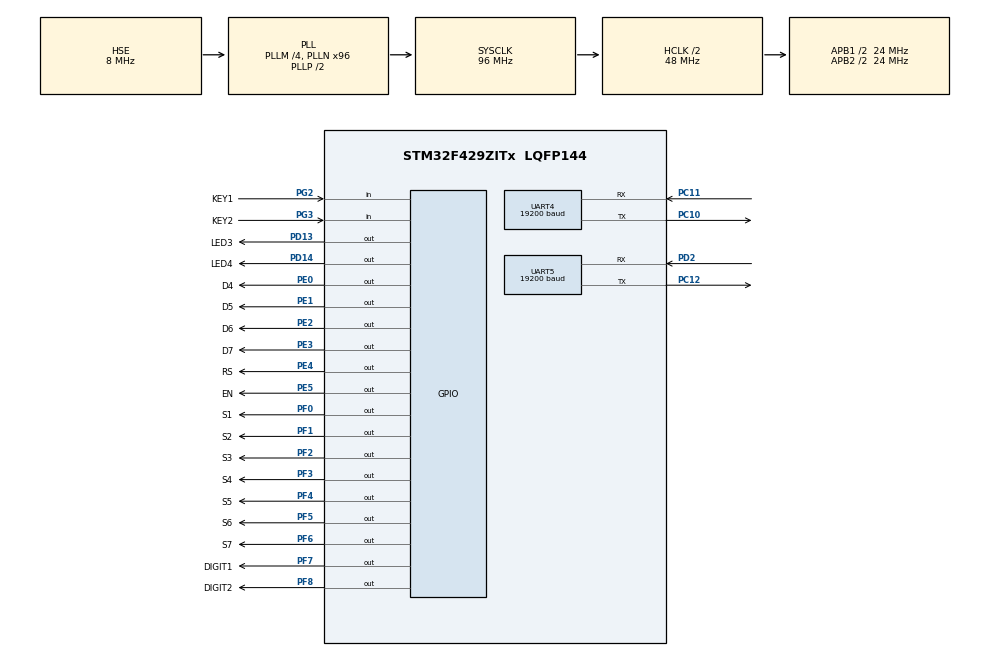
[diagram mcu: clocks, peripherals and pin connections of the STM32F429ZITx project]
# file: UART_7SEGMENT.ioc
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Mcu.Family=STM32F4
Mcu.Name=STM32F429ZITx
Mcu.Package=LQFP144
NVIC.PriorityGroup=NVIC_PRIORITYGROUP_0
NVIC.TIM3_IRQn=true\:0\:0\:false\:false\:true\:true\:true\:true
NVIC.TIM4_IRQn=true\:0\:0\:false\:false\:true\:true\:true\:true
NVIC.UART4_IRQn=true\:0\:0\:false\:false\:true\:true\:true\:true
NVIC.UART5_IRQn=true\:0\:0\:false\:false\:true\:true\:true\:true
PA13.Mode=Serial_Wire
PA13.Signal=SYS_JTMS-SWDIO
PA14.Mode=Serial_Wire
PA14.Signal=SYS_JTCK-SWCLK
PC10.Mode=Asynchronous
PC10.Signal=UART4_TX
PC11.Mode=Asynchronous
PC11.Signal=UART4_RX
PC12.Mode=Asynchronous
PC12.Signal=UART5_TX
PD13.GPIO_Label=LED3
PD13.Signal=GPIO_Output
PD14.GPIO_Label=LED4
PD14.Signal=GPIO_Output
PD2.Mode=Asynchronous
PD2.Signal=UART5_RX
PE0.GPIO_Label=D4
PE0.Signal=GPIO_Output
PE1.GPIO_Label=D5
PE1.Signal=GPIO_Output
PE2.GPIO_Label=D6
PE2.Signal=GPIO_Output
PE3.GPIO_Label=D7
PE3.Signal=GPIO_Output
PE4.GPIO_Label=RS
PE4.Signal=GPIO_Output
PE5.GPIO_Label=EN
PE5.Signal=GPIO_Output
PF0.GPIO_Label=S1
PF0.Signal=GPIO_Output
PF1.GPIO_Label=S2
PF1.Signal=GPIO_Output
PF2.GPIO_Label=S3
PF2.Signal=GPIO_Output
PF3.GPIO_Label=S4
PF3.Signal=GPIO_Output
PF4.GPIO_Label=S5
PF4.Signal=GPIO_Output
PF5.GPIO_Label=S6
PF5.Signal=GPIO_Output
PF6.GPIO_Label=S7
PF6.Signal=GPIO_Output
PF7.GPIO_Label=DIGIT1
PF7.Signal=GPIO_Output
PF8.GPIO_Label=DIGIT2
PF8.Signal=GPIO_Output
PG2.GPIO_Label=KEY1
PG2.GPIO_PuPd=GPIO_PULLUP
PG2.Signal=GPIO_Input
PG3.GPIO_Label=KEY2
PG3.GPIO_PuPd=GPIO_PULLUP
PG3.Signal=GPIO_Input
PH0/OSC_IN.Mode=HSE-External-Oscillator
PH0/OSC_IN.Signal=RCC_OSC_IN
PH1/OSC_OUT.Mode=HSE-External-Oscillator
PH1/OSC_OUT.Signal=RCC_OSC_OUT
ProjectManager.HeapSize=0x200
ProjectManager.StackSize=0x400
ProjectManager.TargetToolchain=Makefile
RCC.48MHZClocksFreq_Value=64000000
RCC.AHBCLKDivider=RCC_SYSCLK_DIV2
RCC.AHBFreq_Value=48000000
RCC.APB1CLKDivider=RCC_HCLK_DIV2
RCC.APB1Freq_Value=24000000
RCC.APB1TimFreq_Value=48000000
RCC.APB2CLKDivider=RCC_HCLK_DIV2
RCC.APB2Freq_Value=24000000
RCC.APB2TimFreq_Value=48000000
RCC.CortexFreq_Value=48000000
RCC.HCLKFreq_Value=48000000
RCC.HSE_VALUE=8000000
RCC.HSI_VALUE=16000000
RCC.LSE_VALUE=32768
RCC.PLLM=4
RCC.PLLN=96
RCC.PLLQ=3
RCC.PLLSourceVirtual=RCC_PLLSOURCE_HSE
RCC.RCC_TIM_PRescaler_Selection=RCC_TIMPRES_DESACTIVATED
RCC.SYSCLKFreq_VALUE=96000000
RCC.SYSCLKSource=RCC_SYSCLKSOURCE_PLLCLK
RCC.VCOOutputFreq_Value=192000000
TIM3.ClockDivision=TIM_CLOCKDIVISION_DIV4
TIM3.Period=99
TIM3.Prescaler=199
TIM4.ClockDivision=TIM_CLOCKDIVISION_DIV4
TIM4.Period=999
TIM4.Prescaler=199
UART4.BaudRate=19200
UART4.VirtualMode=Asynchronous
UART5.BaudRate=19200
UART5.VirtualMode=Asynchronous
VP_TIM3_VS_ClockSourceINT.Mode=Internal
VP_TIM4_VS_ClockSourceINT.Mode=Internal
board=STM32F429I-DISC1

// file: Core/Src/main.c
/* USER CODE BEGIN Header */
/**
  ******************************************************************************
  * @file           : main.c
  * @brief          : Main program body
  ******************************************************************************
  * @attention
  *
  * Copyright (c) 2022 STMicroelectronics.
  * All rights reserved.
  *
  * This software is licensed under terms that can be found in the LICENSE file
  * in the root directory of this software component.
  * If no LICENSE file comes with this software, it is provided AS-IS.
  *
  ******************************************************************************
  */
/* USER CODE END Header */
#include "main.h"
#include "tim.h"
#include "usart.h"
#include "gpio.h"

/* USER CODE BEGIN Includes */
#include "lcd16x2.h"
/* USER CODE END Includes */

/* USER CODE BEGIN PV */
unsigned char f_timer_TX=0;
unsigned char f_seg_timer_500ms;
unsigned char f_timer_100us =0;
unsigned char f_timer_10ms=0;
unsigned char f_timer_20ms=0;

unsigned char f_timer_30ms=0;
unsigned char i,p_tx1,p_tx2;
unsigned char flag_digit_1=1;
unsigned char tx[3];
unsigned char test[6]={"HELLO\n"};
unsigned char tx2_buffer[10]={"123456789"};
unsigned char tx1_buffer[6]={"abcdef"};

unsigned char rx_buffer1[64];
unsigned char rx_buffer2[64];

unsigned char bufferEvent[64];
unsigned char d_timer_30ms;
unsigned char d_timer_20ms;
unsigned char d_timer_TX1;
unsigned char TX1_delay_val =250;
unsigned char d_timer_TX2;
unsigned char TX2_delay_val =250;
unsigned char key1_data, key2_data;
unsigned char state,event;
unsigned char e_rp,e_wp;
unsigned char rx1_rp,rx1_wp;
unsigned char rx2_rp,rx2_wp;
unsigned char lcd_disp_lock=0;

unsigned char uart_tx1_flag,uart_tx2_flag;
unsigned char flag_state_tx1, flag_state_tx;

unsigned char digit1,digit2;
//flag for LCD
unsigned char  is_EN=0;
unsigned char lcd_digit1_f=0;
unsigned char digit1_update = 0;
unsigned char digit2_update = 0;
unsigned char cmd, data;
unsigned char lcd_process=0;
char seven_segment_table[17] = {	0b1111110,	// '0'
		    	0b0110000,	// '1'
		   	0b1101101,	// '2'
			0b1111001,	// '3'
			0b0110011,	// '4'
			0b1011011,	// '5'
			0b1011111,	// '6'
			0b1110000,	// '7'
			0b1111111,	// '8'
			0b1111011,	// '9'
			0b1111101,	// 'a'  --10
			0b0011111,	// 'b'  --11
			0b0001101,	// 'c'  --12
			0b0111101,	// 'd'  --13
			0b1101111,	// 'e'	--14
			0b1000111,	// 'f'  --15
			0b0000001 	// '-'  --16

};
unsigned char digit_table[17]={"0123456789abcdef-"};
/* USER CODE END PV */

void SystemClock_Config(void);
/* USER CODE BEGIN PFP */
void task_timer(void);
void counting_task(void);
void uart_TX2_task(void);
void uart_TX1_task(void);
void uart_RX1_task(void);
void uart_RX2_task(void);
void segment_display_task(void);
void lcd_display_task(void);
void key_read_task(void);
void main_task(void);
void setEvent(unsigned char event);
unsigned char getEvent(void);
void seven_segment_driver(char input,char select_digit);
void TX1_delay_update(void);
void TX2_delay_update(void);
void m_send_to_lcd(char data);
/*
unsigned char m_send_to_lcd(char data);
unsigned char m_lcd_cmd(char cmd);
unsigned char m_lcd_data(char cmd);
unsigned char m_lcd_set_pos(int row, int col);
*/
/* USER CODE END PFP */

int main(void)
{

  /* MCU Configuration--------------------------------------------------------*/

  /* Reset of all peripherals, Initializes the Flash interface and the Systick. */
  HAL_Init();

  /* Configure the system clock */
  SystemClock_Config();

  /* Initialize all configured peripherals */
  MX_GPIO_Init();
  MX_TIM3_Init();
  MX_TIM4_Init();
  MX_UART4_Init();
  MX_UART5_Init();
  /* USER CODE BEGIN 2 */
  HAL_TIM_Base_Start_IT(&htim3);
  HAL_TIM_Base_Start_IT(&htim4);

  rx1_rp=0;
  rx2_rp=0;
  rx1_wp=0;
  rx2_wp=0;

  HAL_UART_Receive_IT(&huart4, &rx_buffer1[rx1_wp], 1);
  HAL_UART_Receive_IT(&huart5, &rx_buffer2[rx2_wp], 1);

  lcd_init();
  lcd_clear();
  lcd_set_pos(0, 3);
  lcd_write_string("VS CODE");
  lcd_set_pos(1, 0);
   lcd_write_string("D2:");
   lcd_set_pos(1, 0xC);
    lcd_write_string("D1:");
  /* USER CODE END 2 */

  /* Infinite loop */
  while (1)
  {

    /* USER CODE BEGIN 3 */

	  	  	 task_timer();
	  	     segment_display_task();
	  	     lcd_display_task();
	  	     key_read_task();

	  	     uart_RX2_task();
	  	     uart_RX1_task();

	  	     main_task();
  }
  /* USER CODE END 3 */
}

void SystemClock_Config(void)
{
  RCC_OscInitTypeDef RCC_OscInitStruct = {0};
  RCC_ClkInitTypeDef RCC_ClkInitStruct = {0};

  /** Configure the main internal regulator output voltage
  */
  __HAL_RCC_PWR_CLK_ENABLE();
  __HAL_PWR_VOLTAGESCALING_CONFIG(PWR_REGULATOR_VOLTAGE_SCALE3);

  /** Initializes the RCC Oscillators according to the specified parameters
  * in the RCC_OscInitTypeDef structure.
  */
  RCC_OscInitStruct.OscillatorType = RCC_OSCILLATORTYPE_HSE;
  RCC_OscInitStruct.HSEState = RCC_HSE_ON;
  RCC_OscInitStruct.PLL.PLLState = RCC_PLL_ON;
  RCC_OscInitStruct.PLL.PLLSource = RCC_PLLSOURCE_HSE;
  RCC_OscInitStruct.PLL.PLLM = 4;
  RCC_OscInitStruct.PLL.PLLN = 96;
  RCC_OscInitStruct.PLL.PLLP = RCC_PLLP_DIV2;
  RCC_OscInitStruct.PLL.PLLQ = 3;
  if (HAL_RCC_OscConfig(&RCC_OscInitStruct) != HAL_OK)
  {
    Error_Handler();
  }

  /** Initializes the CPU, AHB and APB buses clocks
  */
  RCC_ClkInitStruct.ClockType = RCC_CLOCKTYPE_HCLK|RCC_CLOCKTYPE_SYSCLK
                              |RCC_CLOCKTYPE_PCLK1|RCC_CLOCKTYPE_PCLK2;
  RCC_ClkInitStruct.SYSCLKSource = RCC_SYSCLKSOURCE_PLLCLK;
  RCC_ClkInitStruct.AHBCLKDivider = RCC_SYSCLK_DIV2;
  RCC_ClkInitStruct.APB1CLKDivider = RCC_HCLK_DIV2;
  RCC_ClkInitStruct.APB2CLKDivider = RCC_HCLK_DIV2;

  if (HAL_RCC_ClockConfig(&RCC_ClkInitStruct, FLASH_LATENCY_1) != HAL_OK)
  {
    Error_Handler();
  }
}

/* USER CODE BEGIN 4 */

void uart_RX2_task(void)
{

	if(rx2_rp==rx2_wp) return;

	switch(rx_buffer2[rx2_rp++])
	{
		case 'a':
			digit2=10;
			break;
		case 'b':
			digit2=11;
			break;
		case 'c':
			digit2=12;
			break;
		case 'd':
			digit2=13;
			break;
		case 'e':
			digit2=14;
			break;
		case 'f':
			digit2=15;
			break;
		default:
			break;
	}

	if(rx2_rp>63){
    		rx2_rp=0;
   	 }

}

void uart_RX1_task(void)
{

	if(rx1_rp==rx1_wp) return;

	switch(rx_buffer1[rx1_rp++])
	{
		case '0':
			digit1=0;
			break;
		case '1':
			digit1=1;
			break;
		case '2':
			digit1=2;
			break;
		case '3':
			digit1=3;
			break;

		case '4':
			digit1=4;
			break;
		case '5':
			digit1=5;
			break;
		case '6':
			digit1=6;
			break;
		case '7':
			digit1=7;
			break;
		case '8':
			digit1=8;
			break;
		case '9':
			digit1=9;
			break;
		default:
			break;
	}

	if(rx1_rp>63){
    		rx1_rp=0;
   	 }

}

void segment_display_task(void)
{
   if(!f_timer_100us) return;
   f_timer_100us =0;

   flag_digit_1=(~flag_digit_1)&0x1;
   if (flag_digit_1){
	   seven_segment_driver(seven_segment_table[digit1],flag_digit_1);

   }
   else{
	   seven_segment_driver(seven_segment_table[digit2],flag_digit_1);

   }

}

void lcd_display_task(void){

	if(!lcd_digit1_f){

		 cmd = 0xC3;
		 data = digit_table[digit2];

	}else{

		cmd = 0xCF;
        data = digit_table[digit1];

	}
	switch(lcd_process){

			case 0:
					HAL_GPIO_WritePin(RS_GPIO_Port, RS_Pin, 0);
					m_send_to_lcd((cmd>>4)&0x0f);
					break;
			case 1:
					HAL_GPIO_WritePin(RS_GPIO_Port, RS_Pin, 0);
					m_send_to_lcd((cmd)&0x0f);
					break;
			case 2:
					HAL_GPIO_WritePin(RS_GPIO_Port, RS_Pin, 1);
					m_send_to_lcd((data>>4)&0x0f);
					break;
			case 3:
					HAL_GPIO_WritePin(RS_GPIO_Port, RS_Pin, 1);
					m_send_to_lcd(data&0x0f);
					break;
	}
}

void m_send_to_lcd(char data)
{

	//writing data to pin PE0~PE3
	GPIOE->ODR =  (GPIOE->ODR & 0xFFFFFFF0) | data;

	if(!f_timer_20ms) return ;
	f_timer_20ms =0;

	if (!is_EN){
		HAL_GPIO_WritePin(EN_GPIO_Port, EN_Pin, 1);
		is_EN=1;

	}else{

		HAL_GPIO_WritePin(EN_GPIO_Port, EN_Pin, 0);
		is_EN=0;
		lcd_process++;
		if (lcd_process>3){
			lcd_process=0;
			lcd_digit1_f= (~lcd_digit1_f)&0x1;
		}
	}
}

void task_timer(void)
{
	if(!f_timer_10ms) return;       // checking if 10 ms timer interrupt is set (10 ms), if set then do timer task
	f_timer_10ms =0;		// clear the flag to wait next interupt

	d_timer_30ms++;			// count timer for 30 ms interval
				// count timer for LED interval

	if(d_timer_30ms==3)		// checking if the count reached 30 ms
	{
		d_timer_30ms =0;	// assign "0" to repeat counting
		f_timer_30ms=1;		// Set flag to inform 30 ms timer is done counting
	}

	d_timer_20ms++;
	if (d_timer_20ms==2){

		d_timer_20ms =0;
		f_timer_20ms=1;
	}

	d_timer_TX1++;
		if(d_timer_TX1>=TX1_delay_val)     // checking if the count reached LED interval
		{
			d_timer_TX1=0;		// assign "0" to repeat counting
			setEvent(EVENT_TX1_UPDATE);

		}

	d_timer_TX2++;
		if(d_timer_TX2>=TX2_delay_val)     // checking if the count reached LED interval
		{
			d_timer_TX2=0;		// assign "0" to repeat counting
			setEvent(EVENT_TX2_UPDATE);

		}

}

void key_read_task(void)
{
	if(!f_timer_30ms) return;  		 // Checking if 30 ms counting is done
	f_timer_30ms =0;          		 // clear the flag to wait next counting

	uint8_t key_pindata = (uint8_t)(GPIOG->IDR & (KEY1_Pin|KEY2_Pin));

	key1_data = key1_data<<1;      		 //Preparing to read KEY1 Input
	key1_data &= 0b00001110;
	key1_data |= ((key_pindata>>2) & 0x1);			 // Read KEY1 Input

	key2_data = key2_data<<1;		 //Preparing to read KEY2 Input
	key2_data &= 0b00001110;
	key2_data |= (key_pindata>>3);    		 // Read KEY2 Input

	if(key1_data == KEY_PRESSED)    	 // Checking if KEY1 is pressed
	{
		setEvent(EVENT_KEY1_PRESSED);    // Store the event in buffer

	}

	if(key1_data == KEY_RELEASED)		//  Checking if KEY1 is released
	{
		setEvent(EVENT_KEY1_RELEASED); // Store the event in buffer
	}

	if(key2_data == KEY_PRESSED)		// Checking if KEY2 is pressed
	{
		setEvent(EVENT_KEY2_PRESSED); // Store the event in buffer

	}

	if(key2_data == KEY_RELEASED)		//  Checking if KEY2 is released
	{
		setEvent(EVENT_KEY2_RELEASED); // Store the event in buffer
	}

}

void main_task(void)
{

	if (e_rp!=e_wp){
		event = getEvent();   // if there is event then get the event from buffer
	}

	switch(state)
	{
		case STATE_IDLE:

			switch(event)
				{
					case EVENT_KEY1_PRESSED:
						TX1_delay_val=250;
						d_timer_TX1=250;

						state = STATE_TX1;

						break;
					case EVENT_KEY2_PRESSED:
						TX2_delay_val=250;
						d_timer_TX2=250;

						state = STATE_TX2;

						break;
				}
			break;

		case STATE_TX1:

			switch (event){

				case EVENT_TX1_UPDATE:
					uart_TX1_task();
					TX1_delay_update();
					event=0;
					break;
				case EVENT_KEY2_PRESSED:
					TX2_delay_val=250;
					d_timer_TX2=250;
					state = STATE_TX_ALL;
					break;
				case EVENT_KEY1_RELEASED:
					state = STATE_IDLE;

					break;

			}

			break;

		case STATE_TX2:

			switch (event){

					case EVENT_TX2_UPDATE:
						uart_TX2_task();
						TX2_delay_update();
						event=0;
						break;
					case EVENT_KEY1_PRESSED:
						TX1_delay_val=250;
						d_timer_TX1=250;
						state = STATE_TX_ALL;
						break;
					case EVENT_KEY2_RELEASED:
						state = STATE_IDLE;

						break;

					}

			break;
		case STATE_TX_ALL:

			switch (event){
					case EVENT_TX1_UPDATE:
						uart_TX1_task();
						TX1_delay_update();
						event=0;
						break;
					case EVENT_TX2_UPDATE:
						uart_TX2_task();
						TX2_delay_update();
						event=0;
						break;
					case EVENT_KEY1_RELEASED:
						state = STATE_TX2;
						break;
					case EVENT_KEY2_RELEASED:
						state = STATE_TX1;
						break;

					}

			break;
	}

}

void TX1_delay_update(void){

	if (TX1_delay_val==50) return;

	TX1_delay_val-=50;
}

void TX2_delay_update(void){

	if (TX2_delay_val==50) return;

	TX2_delay_val-=50;
}

void uart_TX1_task(void)
{

	HAL_UART_Transmit(&huart4, &tx1_buffer[p_tx1++], 1, 10);

	if(p_tx1>5){
	p_tx1=0;
	}

}

void uart_TX2_task(void)
{

	HAL_UART_Transmit(&huart5, &tx2_buffer[p_tx2++], 1, 10);

	if(p_tx2>8){
	p_tx2=0;
	}

}

void setEvent(unsigned char event)
{
	bufferEvent[e_wp] = event;
	e_wp++;
	if (e_wp>63)
	{
		e_wp=0;
	}
}

unsigned char getEvent(void)
{
	unsigned char event = bufferEvent[e_rp];
	e_rp++;
	if (e_rp>63)
	{
		e_rp=0;
	}
 	 return event;
}

void seven_segment_driver(char input, char select_digit)
{
	uint32_t mask = S1_Pin|S2_Pin|S3_Pin|S4_Pin|S5_Pin|S6_Pin|S7_Pin;
	uint32_t val = ((uint32_t) ~input)&mask;
	if (!select_digit)
	{
		val |= (1)<<7; // pin 7
	}else
	{
		val |= (1)<<8; //pin 8

	}
	GPIOF->ODR = val;

}

void HAL_TIM_PeriodElapsedCallback(TIM_HandleTypeDef *htim)
{
  // Check which version of the timer triggered this callback and toggle LED
  if (htim == &htim3)
  {
	  f_timer_100us=1;
  }
  else if(htim == &htim4)
  {
	  f_timer_10ms=1;

  }
}

void HAL_UART_RxCpltCallback(UART_HandleTypeDef *huart)
{
	//HAL_GPIO_TogglePin(LD3_GPIO_Port, LD3_Pin);

	if (huart == &huart4)
	{
		rx1_wp++;
		HAL_UART_Receive_IT(&huart4, &rx_buffer1[rx1_wp], 1);
		 if(rx1_wp>63){
		    	rx1_wp=0;
		    }
	}
	else if(huart == &huart5)
	{
		rx2_wp++;
		HAL_UART_Receive_IT(&huart5, &rx_buffer2[rx2_wp], 1);
		 if(rx2_wp>63){
		    	rx2_wp=0;
		    }
	}

}
/* USER CODE END 4 */

void Error_Handler(void)
{
  __disable_irq();
  while (1)
  {
  }
}
